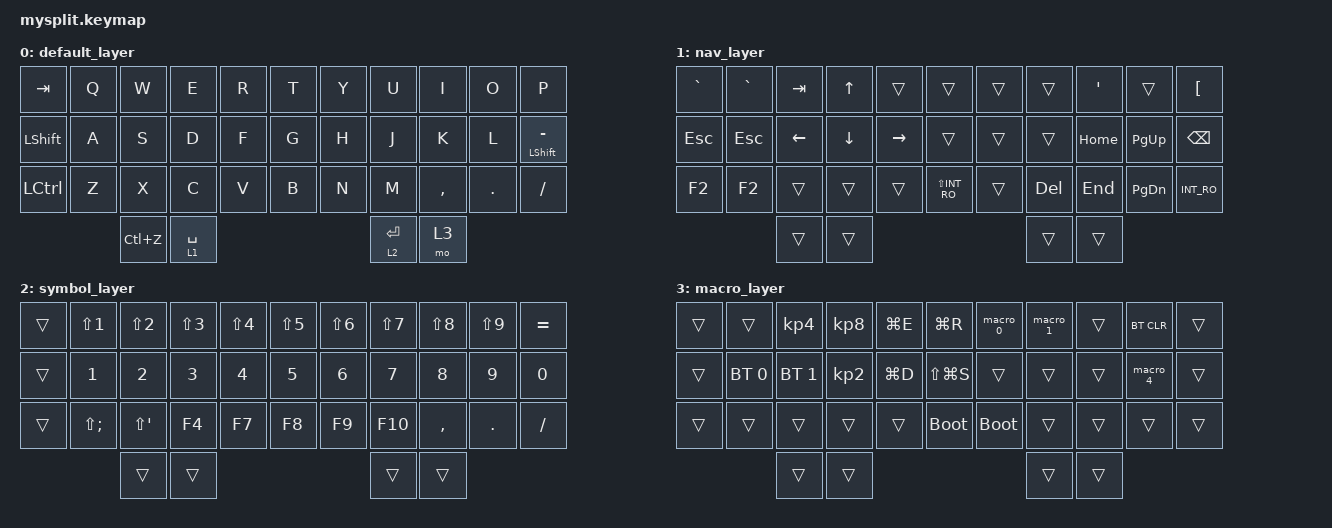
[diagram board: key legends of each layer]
#include <behaviors.dtsi>
#include <dt-bindings/zmk/keys.h>
#include <dt-bindings/zmk/bt.h>

/ {
    behaviors {
        // Right pinky Shift / minus.
        //
        // The built-in &mt is "hold-preferred", which commits to the
        // hold as soon as any other key goes down inside the tapping
        // term - so Shift kept firing when typing quickly. With
        // "tap-preferred" the decision waits for the full term, so it
        // only becomes Shift if the key is genuinely held that long.
        mt_pinky: mod_tap_pinky {
            compatible = "zmk,behavior-hold-tap";
            #binding-cells = <2>;
            bindings = <&kp>, <&kp>;
            flavor = "tap-preferred";
            tapping-term-ms = <200>;
        };
    };

    macros {
        macro_0: macro_0 {
            compatible = "zmk,behavior-macro";
            #binding-cells = <0>;
            bindings
                = <&macro_tap &kp V &kp S &kp Y &kp N9 &kp K &kp C>;
        };
        macro_1: macro_1 {
            compatible = "zmk,behavior-macro";
            #binding-cells = <0>;
            bindings
                = <&macro_tap &kp LS(D) &kp LS(A) &kp N6 &kp ENTER>;
        };
        macro_3: macro_3 {
            compatible = "zmk,behavior-macro";
            #binding-cells = <0>;
            bindings
                = <&macro_tap &kp D &kp E &kp S &kp U>;
        };
        macro_4: macro_4 {
            compatible = "zmk,behavior-macro";
            #binding-cells = <0>;
            bindings
                = <&macro_press &kp LALT>
                , <&macro_tap &kp ENTER>
                , <&macro_release &kp LALT>;
        };
    };

    combos {
        compatible = "zmk,combos";
        // W+E -> layer 3 momentary (matches old MO(3) combo)
        combo_layer3 {
            timeout-ms = <50>;
            key-positions = <2 3>;
            bindings = <&mo 3>;
        };
        // K+L -> macro_4 (Alt+Enter)
        combo_macro4 {
            timeout-ms = <50>;
            key-positions = <19 20>;
            bindings = <&macro_4>;
        };
        // S+D -> Ctrl+X (cut)
        combo_cut {
            timeout-ms = <50>;
            key-positions = <13 14>;
            bindings = <&kp LC(X)>;
        };
        // D+F -> Ctrl+C (copy)
        combo_copy {
            timeout-ms = <50>;
            key-positions = <14 15>;
            bindings = <&kp LC(C)>;
        };
        // F+G -> Ctrl+V (paste)
        combo_paste {
            timeout-ms = <50>;
            key-positions = <15 16>;
            bindings = <&kp LC(V)>;
        };
    };

    keymap {
        compatible = "zmk,keymap";

        default_layer {
            // col0 (new) is always TAB / SHIFT / CTRL per your instruction.
            // col1-5 on the left = old col0-4, shifted right by one.
            // Right half and thumb columns are unchanged from the old layout.
            bindings = <
&kp TAB   &kp Q          &kp W  &kp E  &kp R  &kp T        &kp Y  &kp U  &kp I    &kp O    &kp P
&kp LSHFT &kp A          &kp S  &kp D  &kp F  &kp G        &kp H  &kp J  &kp K    &kp L    &mt_pinky LSHFT MINUS
&kp LCTRL &kp Z          &kp X  &kp C  &kp V  &kp B        &kp N  &kp M  &kp COMMA &kp DOT &kp FSLH
                          &kp LC(Z) &lt 1 SPACE             &lt 2 ENTER &mo 3
            >;
        };

        nav_layer {
            bindings = <
&kp GRAVE &kp GRAVE  &kp TAB  &kp UP    &trans &trans     &trans &trans &kp SQT  &trans    &kp LBKT
&kp ESC   &kp ESC    &kp LEFT &kp DOWN  &kp RIGHT &trans  &trans &trans &kp HOME &kp PG_UP &kp BSPC
&kp F2    &kp F2     &trans   &trans    &trans &kp LS(INT_RO)    &trans &kp DEL &kp END  &kp PG_DN &kp INT_RO
                            &trans &trans                     &trans &trans
            >;
        };

        symbol_layer {
            bindings = <
&trans &kp LS(N1)   &kp LS(N2) &kp LS(N3) &kp LS(N4) &kp LS(N5)     &kp LS(N6) &kp LS(N7) &kp LS(N8) &kp LS(N9) &kp EQUAL
&trans &kp N1       &kp N2     &kp N3     &kp N4     &kp N5         &kp N6     &kp N7     &kp N8     &kp N9     &kp N0
&trans &kp LS(SEMI) &kp LS(SQT) &kp F4    &kp F7     &kp F8         &kp F9     &kp F10    &kp COMMA  &kp DOT    &kp FSLH
                     &trans &trans                                  &trans &trans
            >;
        };

        macro_layer {
            bindings = <
&trans &trans  &kp KP_N4  &kp KP_N8 &kp LG(E) &kp LG(R)      &macro_0 &macro_1 &trans   &bt BT_CLR   &trans
&trans &bt BT_SEL 0  &bt BT_SEL 1  &kp KP_N2 &kp LG(D) &kp LS(LG(S))  &trans   &trans   &trans   &macro_4 &trans
&trans &trans  &trans     &trans    &trans    &bootloader    &bootloader &trans   &trans   &trans   &trans
                           &trans &trans                      &trans &trans
            >;
        };
    };
};
